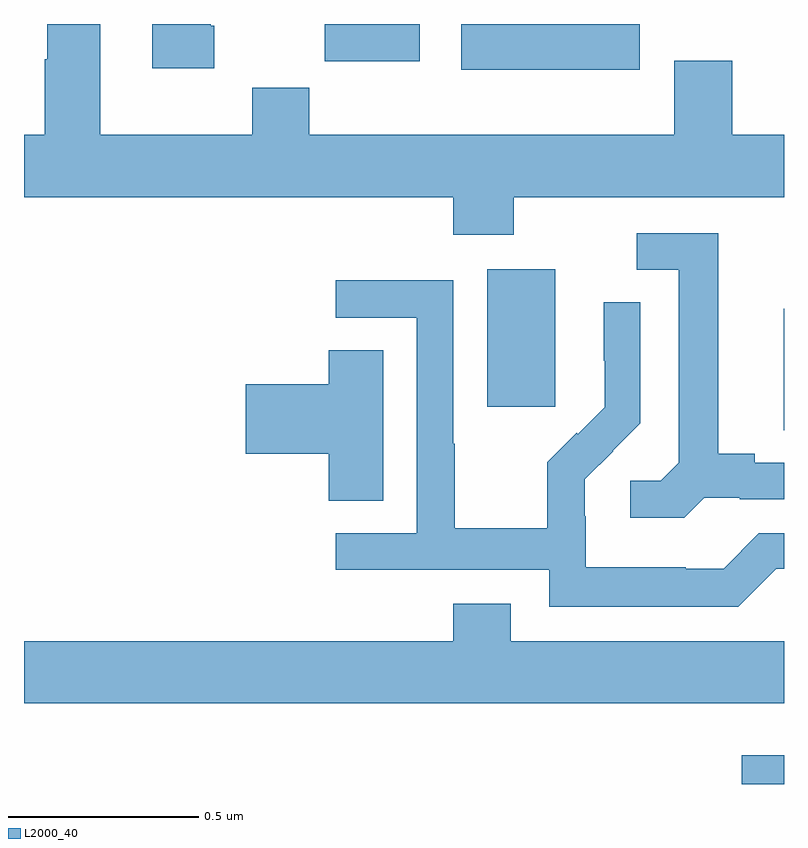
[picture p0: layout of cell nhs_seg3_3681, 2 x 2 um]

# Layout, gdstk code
import gdstk
lib = gdstk.Library(unit=1e-6, precision=1e-09)
def R(c, l, rs):  # rectangles x0, y0, x1, y1
    for r in rs: c.add(gdstk.rectangle(r[:2], r[2:], *l))
def P(c, l, *ps):  # polygons
    for p in ps: c.add(gdstk.Polygon(p, *l))
L2000_40 = (2000, 40)

nhs_seg3_3681 = lib.new_cell('nhs_seg3_3681')
R(nhs_seg3_3681, L2000_40, [(158.889,671.4,159,671.476), (158.999,672.331,159,672.651), (158.219,672.393,158.398,672.754), (158.151,673.28,158.62,673.4), (157.792,673.302,158.041,673.4)])
P(nhs_seg3_3681, L2000_40, [(158.289,672.944),(159,672.944),(159,673.108),(158.864,673.108),(158.864,673.303),(158.711,673.303),(158.711,673.108),(157.751,673.108),(157.751,673.232),(157.6,673.232),(157.6,673.108),(157.201,673.108),(157.201,673.4),(157.061,673.4),(157.061,673.307),(157.054,673.307),(157.054,673.108),(157,673.108),(157,672.944),(158.129,672.944),(158.129,672.845),(158.289,672.845)],
  [(157.5,673.396),(157.492,673.396),(157.492,673.4),(157.337,673.4),(157.337,673.284),(157.5,673.284)],
  [(158.79,672.153),(158.884,672.153),(158.884,672.15),(159,672.15),(159,672.246),(158.923,672.246),(158.923,672.269),(158.827,672.269),(158.827,672.849),(158.613,672.849),(158.613,672.753),(158.723,672.753),(158.723,672.245),(158.676,672.198),(158.595,672.198),(158.595,672.101),(158.738,672.101)],
  [(158.979,671.967),(159,671.967),(159,672.06),(158.934,672.06),(158.841,671.967),(158.741,671.967),(158.741,671.971),(158.478,671.971),(158.478,672.105),(158.476,672.105),(158.476,672.202),(158.55,672.276),(158.549,672.277),(158.622,672.35),(158.622,672.668),(158.526,672.668),(158.526,672.514),(158.528,672.514),(158.528,672.392),(158.457,672.321),(158.454,672.324),(158.377,672.247),(158.377,672.073),(158.133,672.073),(158.133,672.296),(158.13,672.296),(158.13,672.726),(157.821,672.726),(157.821,672.627),(158.034,672.627),(158.034,672.06),(157.821,672.06),(157.821,671.964),(158.382,671.964),(158.382,671.867),(158.879,671.867)],
  [(157.945,672.542),(157.802,672.542),(157.802,672.452),(157.584,672.452),(157.584,672.269),(157.802,672.269),(157.802,672.145),(157.945,672.145)],
  [(159,671.776),(158.281,671.776),(158.281,671.875),(158.129,671.875),(158.129,671.776),(157,671.776),(157,671.612),(159,671.612)])

lib.write_gds('nhs_seg3_3681.gds')
